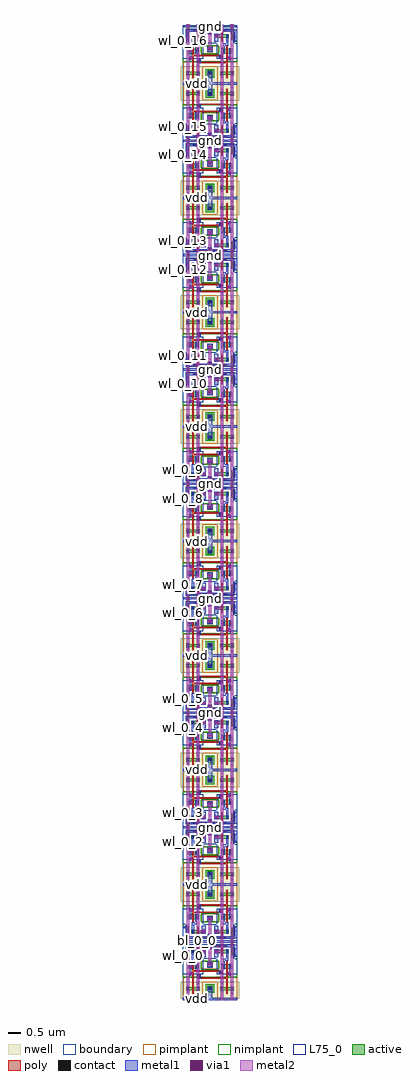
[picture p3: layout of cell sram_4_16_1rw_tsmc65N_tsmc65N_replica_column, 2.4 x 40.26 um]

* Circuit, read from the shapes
.subckt sram_4_16_1rw_tsmc65N_tsmc65N_replica_column bl_0_0 br_0_0 gnd vdd wl_0_0 wl_0_1 wl_0_10 wl_0_11 wl_0_12 wl_0_13 wl_0_14 wl_0_15 wl_0_16 wl_0_2 wl_0_3 wl_0_4 wl_0_5 wl_0_6 wl_0_7 wl_0_8 wl_0_9
M1 n1 n2 gnd gnd nfet w=0.205u l=0.06u
M2 n3 n4 gnd gnd nfet w=0.205u l=0.06u
M3 n5 n6 gnd gnd nfet w=0.205u l=0.06u
M4 n7 n8 gnd gnd nfet w=0.205u l=0.06u
M5 n9 n10 gnd gnd nfet w=0.205u l=0.06u
M6 n11 n12 gnd gnd nfet w=0.205u l=0.06u
M7 n13 n14 gnd gnd nfet w=0.205u l=0.06u
M8 n15 n16 gnd gnd nfet w=0.205u l=0.06u
M9 n17 n18 gnd gnd nfet w=0.205u l=0.06u
M10 n19 n20 gnd gnd nfet w=0.205u l=0.06u
M11 n21 n22 gnd gnd nfet w=0.205u l=0.06u
M12 n23 n24 gnd gnd nfet w=0.205u l=0.06u
M13 n25 n26 gnd gnd nfet w=0.205u l=0.06u
M14 n27 n28 gnd gnd nfet w=0.205u l=0.06u
M15 n29 n30 gnd gnd nfet w=0.205u l=0.06u
M16 n31 n32 gnd gnd nfet w=0.205u l=0.06u
M17 n33 n34 gnd gnd nfet w=0.205u l=0.06u
M18 bl_0_0 wl_0_0 n1 gnd nfet w=0.135u l=0.06u
M19 bl_0_0 wl_0_1 n3 gnd nfet w=0.135u l=0.06u
M20 bl_0_0 wl_0_2 n5 gnd nfet w=0.135u l=0.06u
M21 bl_0_0 wl_0_3 n7 gnd nfet w=0.135u l=0.06u
M22 bl_0_0 wl_0_4 n9 gnd nfet w=0.135u l=0.06u
M23 bl_0_0 wl_0_5 n11 gnd nfet w=0.135u l=0.06u
M24 bl_0_0 wl_0_6 n13 gnd nfet w=0.135u l=0.06u
M25 bl_0_0 wl_0_7 n15 gnd nfet w=0.135u l=0.06u
M26 bl_0_0 wl_0_8 n17 gnd nfet w=0.135u l=0.06u
M27 bl_0_0 wl_0_9 n19 gnd nfet w=0.135u l=0.06u
M28 bl_0_0 wl_0_10 n21 gnd nfet w=0.135u l=0.06u
M29 bl_0_0 wl_0_11 n23 gnd nfet w=0.135u l=0.06u
M30 bl_0_0 wl_0_12 n25 gnd nfet w=0.135u l=0.06u
M31 bl_0_0 wl_0_13 n27 gnd nfet w=0.135u l=0.06u
M32 bl_0_0 wl_0_14 n29 gnd nfet w=0.135u l=0.06u
M33 bl_0_0 wl_0_15 n31 gnd nfet w=0.135u l=0.06u
M34 bl_0_0 wl_0_16 n33 gnd nfet w=0.135u l=0.06u
M35 n2 wl_0_0 br_0_0 gnd nfet w=0.135u l=0.06u
M36 n4 wl_0_1 br_0_0 gnd nfet w=0.135u l=0.06u
M37 n6 wl_0_2 br_0_0 gnd nfet w=0.135u l=0.06u
M38 n8 wl_0_3 br_0_0 gnd nfet w=0.135u l=0.06u
M39 n10 wl_0_4 br_0_0 gnd nfet w=0.135u l=0.06u
M40 n12 wl_0_5 br_0_0 gnd nfet w=0.135u l=0.06u
M41 n14 wl_0_6 br_0_0 gnd nfet w=0.135u l=0.06u
M42 n16 wl_0_7 br_0_0 gnd nfet w=0.135u l=0.06u
M43 n18 wl_0_8 br_0_0 gnd nfet w=0.135u l=0.06u
M44 n20 wl_0_9 br_0_0 gnd nfet w=0.135u l=0.06u
M45 n22 wl_0_10 br_0_0 gnd nfet w=0.135u l=0.06u
M46 n24 wl_0_11 br_0_0 gnd nfet w=0.135u l=0.06u
M47 n26 wl_0_12 br_0_0 gnd nfet w=0.135u l=0.06u
M48 n28 wl_0_13 br_0_0 gnd nfet w=0.135u l=0.06u
M49 n30 wl_0_14 br_0_0 gnd nfet w=0.135u l=0.06u
M50 n32 wl_0_15 br_0_0 gnd nfet w=0.135u l=0.06u
M51 n34 wl_0_16 br_0_0 gnd nfet w=0.135u l=0.06u
M52 gnd n1 n2 gnd nfet w=0.205u l=0.06u
M53 gnd n3 n4 gnd nfet w=0.205u l=0.06u
M54 gnd n5 n6 gnd nfet w=0.205u l=0.06u
M55 gnd n7 n8 gnd nfet w=0.205u l=0.06u
M56 gnd n9 n10 gnd nfet w=0.205u l=0.06u
M57 gnd n11 n12 gnd nfet w=0.205u l=0.06u
M58 gnd n13 n14 gnd nfet w=0.205u l=0.06u
M59 gnd n15 n16 gnd nfet w=0.205u l=0.06u
M60 gnd n17 n18 gnd nfet w=0.205u l=0.06u
M61 gnd n19 n20 gnd nfet w=0.205u l=0.06u
M62 gnd n21 n22 gnd nfet w=0.205u l=0.06u
M63 gnd n23 n24 gnd nfet w=0.205u l=0.06u
M64 gnd n25 n26 gnd nfet w=0.205u l=0.06u
M65 gnd n27 n28 gnd nfet w=0.205u l=0.06u
M66 gnd n29 n30 gnd nfet w=0.205u l=0.06u
M67 gnd n31 n32 gnd nfet w=0.205u l=0.06u
M68 gnd n33 n34 gnd nfet w=0.205u l=0.06u
M69 n1 n2 vdd vdd pfet w=0.12u l=0.06u
M70 n3 n4 vdd vdd pfet w=0.12u l=0.06u
M71 n5 n6 vdd vdd pfet w=0.12u l=0.06u
M72 n7 n8 vdd vdd pfet w=0.12u l=0.06u
M73 n9 n10 vdd vdd pfet w=0.12u l=0.06u
M74 n11 n12 vdd vdd pfet w=0.12u l=0.06u
M75 n13 n14 vdd vdd pfet w=0.12u l=0.06u
M76 n15 n16 vdd vdd pfet w=0.12u l=0.06u
M77 n17 n18 vdd vdd pfet w=0.12u l=0.06u
M78 n19 n20 vdd vdd pfet w=0.12u l=0.06u
M79 n21 n22 vdd vdd pfet w=0.12u l=0.06u
M80 n23 n24 vdd vdd pfet w=0.12u l=0.06u
M81 n25 n26 vdd vdd pfet w=0.12u l=0.06u
M82 n27 n28 vdd vdd pfet w=0.12u l=0.06u
M83 n29 n30 vdd vdd pfet w=0.12u l=0.06u
M84 n31 n32 vdd vdd pfet w=0.12u l=0.06u
M85 n33 n34 vdd vdd pfet w=0.12u l=0.06u
M86 vdd n1 n2 vdd pfet w=0.12u l=0.06u
M87 vdd n3 n4 vdd pfet w=0.12u l=0.06u
M88 vdd n5 n6 vdd pfet w=0.12u l=0.06u
M89 vdd n7 n8 vdd pfet w=0.12u l=0.06u
M90 vdd n9 n10 vdd pfet w=0.12u l=0.06u
M91 vdd n11 n12 vdd pfet w=0.12u l=0.06u
M92 vdd n13 n14 vdd pfet w=0.12u l=0.06u
M93 vdd n15 n16 vdd pfet w=0.12u l=0.06u
M94 vdd n17 n18 vdd pfet w=0.12u l=0.06u
M95 vdd n19 n20 vdd pfet w=0.12u l=0.06u
M96 vdd n21 n22 vdd pfet w=0.12u l=0.06u
M97 vdd n23 n24 vdd pfet w=0.12u l=0.06u
M98 vdd n25 n26 vdd pfet w=0.12u l=0.06u
M99 vdd n27 n28 vdd pfet w=0.12u l=0.06u
M100 vdd n29 n30 vdd pfet w=0.12u l=0.06u
M101 vdd n31 n32 vdd pfet w=0.12u l=0.06u
M102 vdd n33 n34 vdd pfet w=0.12u l=0.06u
.ends

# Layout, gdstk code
import gdstk
lib = gdstk.Library(unit=1e-6, precision=1e-09)
def R(c, l, rs):  # rectangles x0, y0, x1, y1
    for r in rs: c.add(gdstk.rectangle(r[:2], r[2:], *l))
def A(c, l, x, y, w, h, nx, ny, dx, dy):  # array of equal rectangles
    R(c, l, [(x+i*dx, y+j*dy, x+i*dx+w, y+j*dy+h) for i in range(nx) for j in range(ny)])
def P(c, l, *ps):  # polygons
    for p in ps: c.add(gdstk.Polygon(p, *l))
nwell = (3, 0)
active = (6, 0)
poly = (17, 0)
pimplant = (25, 0)
nimplant = (26, 0)
contact = (30, 0)
metal1 = (31, 0)
metal2 = (32, 0)
via1 = (51, 0)
L75_0 = (75, 0)
boundary = (108, 0)

replica_cell_1rw = lib.new_cell('replica_cell_1rw')
R(replica_cell_1rw, nwell, [(-0.08,1.65,0.92,2.24), (0.885,1.65,1.355,2.24), (1.32,1.65,2.32,2.24), (0.885,1.71,1.355,2.18), (-0.08,2.24,2.32,2.36)])
A(replica_cell_1rw, active, 0.55, 1.87, 0.15, 0.15, 3, 1, 0.495, 0)
R(replica_cell_1rw, active, [(0.34,0.33,0.49,0.48), (0.75,0.33,0.9,0.48), (1.34,0.33,1.49,0.48), (1.75,0.33,1.9,0.48), (0.34,0.34,0.59,0.475), (0.59,0.34,0.65,0.475), (0.65,0.34,0.9,0.475), (1.34,0.34,1.59,0.475), (1.59,0.34,1.65,0.475), (1.65,0.34,1.9,0.475), (1.005,0.835,1.24,1.07), (1.035,0.865,1.205,1.035), (0.215,0.925,0.39,1.13), (0.39,0.925,0.45,1.13), (0.45,0.925,0.625,1.13), (1.615,0.925,1.79,1.13), (1.79,0.925,1.85,1.13), (1.85,0.925,2.025,1.13), (1.005,1.825,1.24,2.06), (0.14,1.86,0.29,1.87), (0.155,1.86,0.275,2.03), (1.95,1.86,2.1,1.87), (1.965,1.86,2.085,2.03), (0.14,1.87,0.29,2.02), (1.95,1.87,2.1,2.02), (0.14,1.885,0.39,2.005), (0.39,1.885,0.45,2.005), (0.45,1.885,0.7,2.005), (1.54,1.885,1.79,2.005), (1.79,1.885,1.85,2.005), (1.85,1.885,2.1,2.005), (0.14,2.02,0.29,2.03), (1.95,2.02,2.1,2.03)])
R(replica_cell_1rw, poly, [(0.42,0.155,1.82,0.215), (1.03,0.155,1.2,0.325), (0.59,0.2,0.65,0.34), (1.59,0.2,1.65,0.34), (0.59,0.34,0.65,0.475), (1.59,0.34,1.65,0.475), (0.59,0.475,0.65,0.615), (1.59,0.475,1.65,0.615), (0.39,0.785,0.45,0.925), (1.79,0.785,1.85,0.925), (0.39,0.925,0.45,1.13), (1.79,0.925,1.85,1.13), (0.39,1.13,0.45,1.27), (1.79,1.13,1.85,1.27), (0.39,1.18,1.57,1.24), (1.475,1.18,1.645,1.35), (0.39,1.25,0.45,1.985), (1.79,1.27,1.85,1.985), (0.57,1.36,0.74,1.53), (1.79,1.425,1.85,1.485), (0.67,1.47,1.85,1.53), (0.39,1.745,0.45,1.885), (1.79,1.745,1.85,1.885), (0.39,1.885,0.45,2.005), (1.79,1.885,1.85,2.005), (0.39,2.005,0.45,2.145), (1.79,2.005,1.85,2.145)])
R(replica_cell_1rw, pimplant, [(0.755,0.815,1.485,1.14), (1.015,0.845,1.225,1.055), (0.01,1.47,2.25,1.68), (0.01,1.545,0.83,2.345), (1.41,1.545,2.23,2.345), (2.23,1.545,2.25,2.345), (0.01,2.345,0.83,2.36), (1.41,2.345,2.25,2.36)])
R(replica_cell_1rw, nimplant, [(0.21,0,1.03,0.815), (1.03,0,1.21,0.815), (1.21,0,2.03,0.815), (0,0.585,0.085,1.47), (0.085,0.585,0.755,1.47), (1.485,0.585,2.155,1.47), (2.155,0.585,2.24,1.47), (0.74,1.14,1.645,1.47), (0.945,1.77,1.295,2.12), (1.025,1.85,1.215,2.04), (1.025,1.85,1.215,2.04)])
A(replica_cell_1rw, contact, 0.58, 1.9, 0.09, 0.09, 3, 1, 0.495, 0)
R(replica_cell_1rw, contact, [(1.07,0.195,1.16,0.285), (0.37,0.365,0.46,0.455), (0.78,0.365,0.87,0.455), (1.37,0.365,1.46,0.455), (1.78,0.365,1.87,0.455), (1.075,0.905,1.165,0.995), (0.245,0.98,0.335,1.07), (0.505,0.98,0.595,1.07), (1.645,0.98,1.735,1.07), (1.905,0.98,1.995,1.07), (1.515,1.22,1.605,1.31), (0.61,1.4,0.7,1.49), (0.17,1.9,0.26,1.99), (0.17,1.9,0.26,1.99), (1.98,1.9,2.07,1.99), (1.98,1.9,2.07,1.99)])
A(replica_cell_1rw, metal1, 0.13, -0.05, 0.18, 0.1, 3, 1, 0.9, 0)
R(replica_cell_1rw, metal1, [(0,-0.045,0.09,0.045), (0,-0.045,2.24,0.045), (0,-0.045,2.24,0.045), (2.15,0.14,2.24,0.23), (1.03,0.155,1.2,0.325), (0.775,0.32,0.94,0.645), (0.775,0.32,0.875,0.5), (1.29,0.32,1.465,0.645), (1.365,0.32,1.465,0.5), (0.37,0.325,0.46,0.495), (0.78,0.325,0.87,0.495), (1.37,0.325,1.46,0.495), (1.78,0.325,1.87,0.495), (0,0.545,0.065,0.635), (0,0.545,0.065,0.635), (1.015,0.845,1.225,1.055), (1.07,0.86,1.17,1.04), (0.24,0.915,0.34,1.355), (0.245,0.915,0.335,1.14), (0.505,0.915,0.595,1.14), (0.58,0.915,0.67,2.01), (1.57,0.915,1.66,2.1), (1.645,0.915,1.735,1.14), (1.905,0.915,1.995,1.14), (0.24,0.935,0.34,1.115), (1.905,1.14,1.995,1.355), (1.475,1.18,1.645,1.35), (0.24,1.22,0.34,1.4), (1.9,1.22,2,1.4), (0.57,1.36,0.74,1.53), (0.17,1.86,0.26,2.03), (0.17,1.86,0.26,2.03), (0.17,1.86,0.27,2.41), (0.58,1.86,0.67,2.03), (1.035,1.86,1.205,2.03), (1.57,1.86,1.66,2.03), (1.98,1.86,2.07,2.03), (1.98,1.86,2.07,2.03), (1.035,1.97,1.205,2.41), (0,2.31,1.205,2.41), (0,2.31,1.205,2.41), (1.97,2.31,2.24,2.41), (0,2.315,0.09,2.405)])
P(replica_cell_1rw, metal1, [(0.065,0.545),(0.15,0.545),(0.15,0.14),(2.24,0.14),(2.24,0.635),(2.15,0.635),(2.15,0.23),(0.24,0.23),(0.24,0.635),(0.065,0.635)],
  [(0.46,0.495),(0.46,0.71),(0.595,0.71),(0.595,0.915),(0.505,0.915),(0.505,0.8),(0.37,0.8),(0.37,0.495)],
  [(1.035,2.31),(1.97,2.31),(1.97,1.86),(2.07,1.86),(2.07,2.41),(1.035,2.41)],
  [(1.645,0.915),(1.645,0.71),(1.78,0.71),(1.78,0.495),(1.87,0.495),(1.87,0.8),(1.735,0.8),(1.735,0.915)])
A(replica_cell_1rw, metal2, 0.17, -0.09, 0.1, 0.18, 3, 1, 0.9, 0)
R(replica_cell_1rw, metal2, [(0.17,-0.09,0.27,2.41), (0.57,-0.09,0.67,0.01), (0.57,-0.09,0.67,0.01), (1.07,-0.09,1.17,0.91), (1.57,-0.09,1.67,0.01), (1.57,-0.09,1.67,0.46), (1.57,-0.09,1.67,0.46), (1.97,-0.09,2.07,1.075), (0.57,0.36,0.67,2.41), (0.735,0.36,0.915,0.46), (1.325,0.36,1.505,0.46), (1.07,0.85,1.17,0.91), (1.03,0.9,1.21,1), (0.2,0.975,0.38,1.075), (0.2,1.26,0.38,1.36), (1.86,1.26,2.04,1.36)])
P(replica_cell_1rw, metal2, [(0.67,-0.09),(0.67,0.36),(0.825,0.36),(0.825,0.46),(0.57,0.46),(0.57,-0.09)],
  [(1.415,0.36),(1.67,0.36),(1.67,2.41),(1.57,2.41),(1.57,0.46),(1.415,0.46)],
  [(1.985,0.975),(2.07,0.975),(2.07,2.41),(1.97,2.41),(1.97,1.075),(1.985,1.075)])
A(replica_cell_1rw, via1, 0.17, -0.05, 0.1, 0.1, 3, 1, 0.9, 0)
R(replica_cell_1rw, via1, [(0.775,0.36,0.875,0.46), (1.365,0.36,1.465,0.46), (1.07,0.9,1.17,1), (0.24,0.975,0.34,1.075), (0.24,1.26,0.34,1.36), (1.9,1.26,2,1.36)])
R(replica_cell_1rw, L75_0, [(0.12,0.115,1.12,0.705), (1.12,0.115,2.12,0.705), (-0.005,0.705,0.845,1.35), (1.395,0.705,2.245,1.35), (1.015,0.845,1.225,1.055)])
R(replica_cell_1rw, boundary, [(0,0,2.24,2.36)])
replica_cell_1rw.add(gdstk.Label('wl', (0.01,0.585), layer=31, texttype=0))
replica_cell_1rw.add(gdstk.Label('gnd', (0.045,0), layer=31, texttype=0))
replica_cell_1rw.add(gdstk.Label('vdd', (0.045,2.36), layer=31, texttype=0))
replica_cell_1rw.add(gdstk.Label('[@instanceName]', (0.42,1.945), layer=127, texttype=0))
replica_cell_1rw.add(gdstk.Label('pch\n0.12/0.06\n', (0.39,1.885), layer=127, texttype=0))
replica_cell_1rw.add(gdstk.Label('D', (0.625,1.945), layer=127, texttype=0))
replica_cell_1rw.add(gdstk.Label('S', (0.215,1.945), layer=127, texttype=0))
replica_cell_1rw.add(gdstk.Label('[@instanceName]', (1.82,1.945), layer=127, texttype=0))
replica_cell_1rw.add(gdstk.Label('pch\n0.12/0.06\n', (1.85,1.885), layer=127, texttype=0))
replica_cell_1rw.add(gdstk.Label('D', (1.615,1.945), layer=127, texttype=0))
replica_cell_1rw.add(gdstk.Label('S', (2.025,1.945), layer=127, texttype=0))
replica_cell_1rw.add(gdstk.Label('[@instanceName]', (1.62,0.407), layer=127, texttype=0))
replica_cell_1rw.add(gdstk.Label('nch\n0.135/0.06\n', (1.65,0.34), layer=127, texttype=0))
replica_cell_1rw.add(gdstk.Label('D', (1.415,0.41), layer=127, texttype=0))
replica_cell_1rw.add(gdstk.Label('S', (1.825,0.41), layer=127, texttype=0))
replica_cell_1rw.add(gdstk.Label('[@instanceName]', (0.62,0.407), layer=127, texttype=0))
replica_cell_1rw.add(gdstk.Label('nch\n0.135/0.06\n', (0.59,0.34), layer=127, texttype=0))
replica_cell_1rw.add(gdstk.Label('D', (0.825,0.41), layer=127, texttype=0))
replica_cell_1rw.add(gdstk.Label('S', (0.415,0.41), layer=127, texttype=0))
replica_cell_1rw.add(gdstk.Label('[@instanceName]', (0.42,1.027), layer=127, texttype=0))
replica_cell_1rw.add(gdstk.Label('nch\n0.205/0.06\n', (0.39,0.925), layer=127, texttype=0))
replica_cell_1rw.add(gdstk.Label('D', (0.55,1.027), layer=127, texttype=0))
replica_cell_1rw.add(gdstk.Label('S', (0.29,1.027), layer=127, texttype=0))
replica_cell_1rw.add(gdstk.Label('[@instanceName]', (1.82,1.027), layer=127, texttype=0))
replica_cell_1rw.add(gdstk.Label('nch\n0.205/0.06\n', (1.85,0.925), layer=127, texttype=0))
replica_cell_1rw.add(gdstk.Label('D', (1.69,1.027), layer=127, texttype=0))
replica_cell_1rw.add(gdstk.Label('S', (1.95,1.027), layer=127, texttype=0))
replica_cell_1rw.add(gdstk.Label('& SerialNumber 000000', (0.39,1.885), layer=63, texttype=63))
replica_cell_1rw.add(gdstk.Label('& Distributor TSMC', (0.39,1.885), layer=63, texttype=63))
replica_cell_1rw.add(gdstk.Label('& Metric 1', (0.39,1.885), layer=63, texttype=63))
replica_cell_1rw.add(gdstk.Label('& PDK Version "tsmcN65_DTQ::RWg\\177;oCnm~vw{v}v\\202_20120815"', (0.39,1.885), layer=63, texttype=63))
replica_cell_1rw.add(gdstk.Label('& PDK TechNode "CRN65LP"', (0.39,1.885), layer=63, texttype=63))
replica_cell_1rw.add(gdstk.Label('& Product    tsmcN65_PDK', (0.39,1.885), layer=63, texttype=63))
replica_cell_1rw.add(gdstk.Label('& Vendor     Taiwan Semiconductor manufacturing Corp.', (0.39,1.885), layer=63, texttype=63))
replica_cell_1rw.add(gdstk.Label('& SerialNumber 000000', (1.85,1.885), layer=63, texttype=63))
replica_cell_1rw.add(gdstk.Label('& Distributor TSMC', (1.85,1.885), layer=63, texttype=63))
replica_cell_1rw.add(gdstk.Label('& Metric 1', (1.85,1.885), layer=63, texttype=63))
replica_cell_1rw.add(gdstk.Label('& PDK Version "tsmcN65_DTQ::RWg\\177;oCnm~vw{v}v\\202_20120815"', (1.85,1.885), layer=63, texttype=63))
replica_cell_1rw.add(gdstk.Label('& PDK TechNode "CRN65LP"', (1.85,1.885), layer=63, texttype=63))
replica_cell_1rw.add(gdstk.Label('& Product    tsmcN65_PDK', (1.85,1.885), layer=63, texttype=63))
replica_cell_1rw.add(gdstk.Label('& Vendor     Taiwan Semiconductor manufacturing Corp.', (1.85,1.885), layer=63, texttype=63))
replica_cell_1rw.add(gdstk.Label('& SerialNumber 000000', (1.65,0.34), layer=63, texttype=63))
replica_cell_1rw.add(gdstk.Label('& Distributor TSMC', (1.65,0.34), layer=63, texttype=63))
replica_cell_1rw.add(gdstk.Label('& Metric 1', (1.65,0.34), layer=63, texttype=63))
replica_cell_1rw.add(gdstk.Label('& PDK Version "tsmcN65_DTQ::RWg\\177;oCnm~vw{v}v\\202_20120815"', (1.65,0.34), layer=63, texttype=63))
replica_cell_1rw.add(gdstk.Label('& PDK TechNode "CRN65LP"', (1.65,0.34), layer=63, texttype=63))
replica_cell_1rw.add(gdstk.Label('& Product    tsmcN65_PDK', (1.65,0.34), layer=63, texttype=63))
replica_cell_1rw.add(gdstk.Label('& Vendor     Taiwan Semiconductor manufacturing Corp.', (1.65,0.34), layer=63, texttype=63))
replica_cell_1rw.add(gdstk.Label('& SerialNumber 000000', (0.59,0.34), layer=63, texttype=63))
replica_cell_1rw.add(gdstk.Label('& Distributor TSMC', (0.59,0.34), layer=63, texttype=63))
replica_cell_1rw.add(gdstk.Label('& Metric 1', (0.59,0.34), layer=63, texttype=63))
replica_cell_1rw.add(gdstk.Label('& PDK Version "tsmcN65_DTQ::RWg\\177;oCnm~vw{v}v\\202_20120815"', (0.59,0.34), layer=63, texttype=63))
replica_cell_1rw.add(gdstk.Label('& PDK TechNode "CRN65LP"', (0.59,0.34), layer=63, texttype=63))
replica_cell_1rw.add(gdstk.Label('& Product    tsmcN65_PDK', (0.59,0.34), layer=63, texttype=63))
replica_cell_1rw.add(gdstk.Label('& Vendor     Taiwan Semiconductor manufacturing Corp.', (0.59,0.34), layer=63, texttype=63))
replica_cell_1rw.add(gdstk.Label('& SerialNumber 000000', (0.39,0.925), layer=63, texttype=63))
replica_cell_1rw.add(gdstk.Label('& Distributor TSMC', (0.39,0.925), layer=63, texttype=63))
replica_cell_1rw.add(gdstk.Label('& Metric 1', (0.39,0.925), layer=63, texttype=63))
replica_cell_1rw.add(gdstk.Label('& PDK Version "tsmcN65_DTQ::RWg\\177;oCnm~vw{v}v\\202_20120815"', (0.39,0.925), layer=63, texttype=63))
replica_cell_1rw.add(gdstk.Label('& PDK TechNode "CRN65LP"', (0.39,0.925), layer=63, texttype=63))
replica_cell_1rw.add(gdstk.Label('& Product    tsmcN65_PDK', (0.39,0.925), layer=63, texttype=63))
replica_cell_1rw.add(gdstk.Label('& Vendor     Taiwan Semiconductor manufacturing Corp.', (0.39,0.925), layer=63, texttype=63))
replica_cell_1rw.add(gdstk.Label('& SerialNumber 000000', (1.85,0.925), layer=63, texttype=63))
replica_cell_1rw.add(gdstk.Label('& Distributor TSMC', (1.85,0.925), layer=63, texttype=63))
replica_cell_1rw.add(gdstk.Label('& Metric 1', (1.85,0.925), layer=63, texttype=63))
replica_cell_1rw.add(gdstk.Label('& PDK Version "tsmcN65_DTQ::RWg\\177;oCnm~vw{v}v\\202_20120815"', (1.85,0.925), layer=63, texttype=63))
replica_cell_1rw.add(gdstk.Label('& PDK TechNode "CRN65LP"', (1.85,0.925), layer=63, texttype=63))
replica_cell_1rw.add(gdstk.Label('& Product    tsmcN65_PDK', (1.85,0.925), layer=63, texttype=63))
replica_cell_1rw.add(gdstk.Label('& Vendor     Taiwan Semiconductor manufacturing Corp.', (1.85,0.925), layer=63, texttype=63))
replica_cell_1rw.add(gdstk.Label('bl', (0.62,-0.04), layer=32, texttype=0))
replica_cell_1rw.add(gdstk.Label('br', (1.62,-0.04), layer=32, texttype=0))
replica_cell_1rw.add(gdstk.Label('bl', (0.62,-0.04), layer=32, texttype=0))
replica_cell_1rw.add(gdstk.Label('br', (1.62,0.185), layer=32, texttype=0))
replica_cell_1rw.add(gdstk.Label('wl', (0.032,0.59), layer=31, texttype=0))
replica_cell_1rw.add(gdstk.Label('vdd', (0.602,2.36), layer=31, texttype=0))
replica_cell_1rw.add(gdstk.Label('gnd', (1.12,0), layer=31, texttype=0))

sram_4_16_1rw_tsmc65n_ts = lib.new_cell('sram_4_16_1rw_tsmc65N_tsmc65N_replica_column')
A(sram_4_16_1rw_tsmc65n_ts, metal1, 0, -0.05, 1.205, 0.1, 1, 9, 0, 4.72)
A(sram_4_16_1rw_tsmc65n_ts, metal1, 0, 2.315, 2.24, 0.09, 1, 9, 0, 4.72)
R(sram_4_16_1rw_tsmc65n_ts, metal1, [(0,1.725,0.065,1.815), (0,2.905,0.065,2.995), (0,6.445,0.065,6.535), (0,7.625,0.065,7.715), (0,11.165,0.065,11.255), (0,12.345,0.065,12.435), (0,15.885,0.065,15.975), (0,17.065,0.065,17.155), (0,20.605,0.065,20.695), (0,21.785,0.065,21.875), (0,25.325,0.065,25.415), (0,26.505,0.065,26.595), (0,30.045,0.065,30.135), (0,31.225,0.065,31.315), (0,34.765,0.065,34.855), (0,35.945,0.065,36.035), (0,39.485,0.065,39.575)])
R(sram_4_16_1rw_tsmc65n_ts, metal2, [(1.57,1.9,1.67,2.45), (0.57,2.35,0.67,2.45)])
R(sram_4_16_1rw_tsmc65n_ts, boundary, [(0,0,2.24,40.12)])
sram_4_16_1rw_tsmc65n_ts.add(gdstk.Reference(replica_cell_1rw, (0,2.36), x_reflection=True))
sram_4_16_1rw_tsmc65n_ts.add(gdstk.Reference(replica_cell_1rw, (0,2.36)))
sram_4_16_1rw_tsmc65n_ts.add(gdstk.Reference(replica_cell_1rw, (0,7.08), x_reflection=True))
sram_4_16_1rw_tsmc65n_ts.add(gdstk.Reference(replica_cell_1rw, (0,7.08)))
sram_4_16_1rw_tsmc65n_ts.add(gdstk.Reference(replica_cell_1rw, (0,11.8), x_reflection=True))
sram_4_16_1rw_tsmc65n_ts.add(gdstk.Reference(replica_cell_1rw, (0,11.8)))
sram_4_16_1rw_tsmc65n_ts.add(gdstk.Reference(replica_cell_1rw, (0,16.52), x_reflection=True))
sram_4_16_1rw_tsmc65n_ts.add(gdstk.Reference(replica_cell_1rw, (0,16.52)))
sram_4_16_1rw_tsmc65n_ts.add(gdstk.Reference(replica_cell_1rw, (0,21.24), x_reflection=True))
sram_4_16_1rw_tsmc65n_ts.add(gdstk.Reference(replica_cell_1rw, (0,21.24)))
sram_4_16_1rw_tsmc65n_ts.add(gdstk.Reference(replica_cell_1rw, (0,25.96), x_reflection=True))
sram_4_16_1rw_tsmc65n_ts.add(gdstk.Reference(replica_cell_1rw, (0,25.96)))
sram_4_16_1rw_tsmc65n_ts.add(gdstk.Reference(replica_cell_1rw, (0,30.68), x_reflection=True))
sram_4_16_1rw_tsmc65n_ts.add(gdstk.Reference(replica_cell_1rw, (0,30.68)))
sram_4_16_1rw_tsmc65n_ts.add(gdstk.Reference(replica_cell_1rw, (0,35.4), x_reflection=True))
sram_4_16_1rw_tsmc65n_ts.add(gdstk.Reference(replica_cell_1rw, (0,35.4)))
sram_4_16_1rw_tsmc65n_ts.add(gdstk.Reference(replica_cell_1rw, (0,40.12), x_reflection=True))
sram_4_16_1rw_tsmc65n_ts.add(gdstk.Label('bl_0_0', (0.62,2.4), layer=32, texttype=0))
sram_4_16_1rw_tsmc65n_ts.add(gdstk.Label('br_0_0', (1.62,2.175), layer=32, texttype=0))
sram_4_16_1rw_tsmc65n_ts.add(gdstk.Label('wl_0_0', (0.032,1.77), layer=31, texttype=0))
sram_4_16_1rw_tsmc65n_ts.add(gdstk.Label('wl_0_1', (0.032,2.95), layer=31, texttype=0))
sram_4_16_1rw_tsmc65n_ts.add(gdstk.Label('wl_0_2', (0.032,6.49), layer=31, texttype=0))
sram_4_16_1rw_tsmc65n_ts.add(gdstk.Label('wl_0_3', (0.032,7.67), layer=31, texttype=0))
sram_4_16_1rw_tsmc65n_ts.add(gdstk.Label('wl_0_4', (0.032,11.21), layer=31, texttype=0))
sram_4_16_1rw_tsmc65n_ts.add(gdstk.Label('wl_0_5', (0.032,12.39), layer=31, texttype=0))
sram_4_16_1rw_tsmc65n_ts.add(gdstk.Label('wl_0_6', (0.032,15.93), layer=31, texttype=0))
sram_4_16_1rw_tsmc65n_ts.add(gdstk.Label('wl_0_7', (0.032,17.11), layer=31, texttype=0))
sram_4_16_1rw_tsmc65n_ts.add(gdstk.Label('wl_0_8', (0.032,20.65), layer=31, texttype=0))
sram_4_16_1rw_tsmc65n_ts.add(gdstk.Label('wl_0_9', (0.032,21.83), layer=31, texttype=0))
sram_4_16_1rw_tsmc65n_ts.add(gdstk.Label('wl_0_10', (0.032,25.37), layer=31, texttype=0))
sram_4_16_1rw_tsmc65n_ts.add(gdstk.Label('wl_0_11', (0.032,26.55), layer=31, texttype=0))
sram_4_16_1rw_tsmc65n_ts.add(gdstk.Label('wl_0_12', (0.032,30.09), layer=31, texttype=0))
sram_4_16_1rw_tsmc65n_ts.add(gdstk.Label('wl_0_13', (0.032,31.27), layer=31, texttype=0))
sram_4_16_1rw_tsmc65n_ts.add(gdstk.Label('wl_0_14', (0.032,34.81), layer=31, texttype=0))
sram_4_16_1rw_tsmc65n_ts.add(gdstk.Label('wl_0_15', (0.032,35.99), layer=31, texttype=0))
sram_4_16_1rw_tsmc65n_ts.add(gdstk.Label('wl_0_16', (0.032,39.53), layer=31, texttype=0))
sram_4_16_1rw_tsmc65n_ts.add(gdstk.Label('vdd', (0.602,4.72), layer=31, texttype=0))
sram_4_16_1rw_tsmc65n_ts.add(gdstk.Label('vdd', (0.602,14.16), layer=31, texttype=0))
sram_4_16_1rw_tsmc65n_ts.add(gdstk.Label('vdd', (0.602,0), layer=31, texttype=0))
sram_4_16_1rw_tsmc65n_ts.add(gdstk.Label('vdd', (0.602,37.76), layer=31, texttype=0))
sram_4_16_1rw_tsmc65n_ts.add(gdstk.Label('vdd', (0.602,18.88), layer=31, texttype=0))
sram_4_16_1rw_tsmc65n_ts.add(gdstk.Label('vdd', (0.602,33.04), layer=31, texttype=0))
sram_4_16_1rw_tsmc65n_ts.add(gdstk.Label('vdd', (0.602,9.44), layer=31, texttype=0))
sram_4_16_1rw_tsmc65n_ts.add(gdstk.Label('vdd', (0.602,23.6), layer=31, texttype=0))
sram_4_16_1rw_tsmc65n_ts.add(gdstk.Label('vdd', (0.602,28.32), layer=31, texttype=0))
sram_4_16_1rw_tsmc65n_ts.add(gdstk.Label('gnd', (1.12,25.96), layer=31, texttype=0))
sram_4_16_1rw_tsmc65n_ts.add(gdstk.Label('gnd', (1.12,40.12), layer=31, texttype=0))
sram_4_16_1rw_tsmc65n_ts.add(gdstk.Label('gnd', (1.12,2.36), layer=31, texttype=0))
sram_4_16_1rw_tsmc65n_ts.add(gdstk.Label('gnd', (1.12,30.68), layer=31, texttype=0))
sram_4_16_1rw_tsmc65n_ts.add(gdstk.Label('gnd', (1.12,11.8), layer=31, texttype=0))
sram_4_16_1rw_tsmc65n_ts.add(gdstk.Label('gnd', (1.12,7.08), layer=31, texttype=0))
sram_4_16_1rw_tsmc65n_ts.add(gdstk.Label('gnd', (1.12,21.24), layer=31, texttype=0))
sram_4_16_1rw_tsmc65n_ts.add(gdstk.Label('gnd', (1.12,16.52), layer=31, texttype=0))
sram_4_16_1rw_tsmc65n_ts.add(gdstk.Label('gnd', (1.12,35.4), layer=31, texttype=0))

lib.write_gds('sram_4_16_1rw_tsmc65N_tsmc65N_replica_column.gds')
